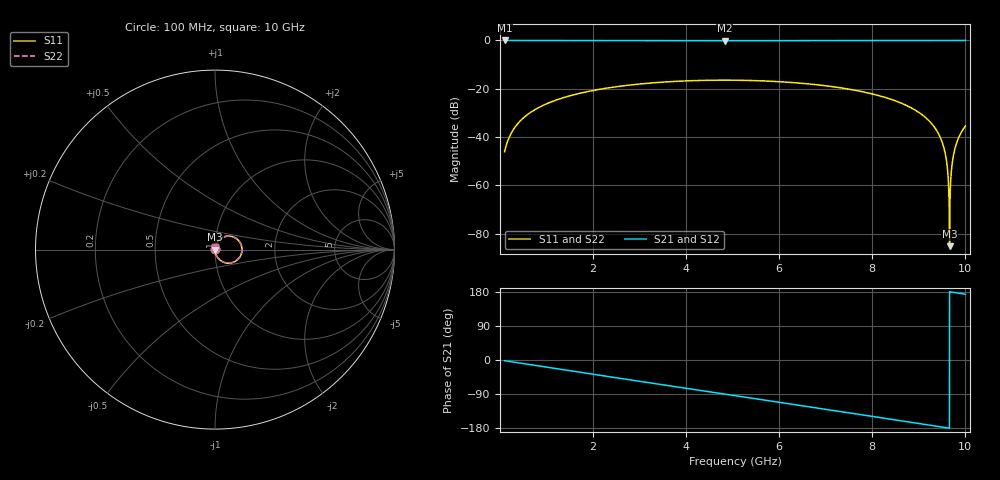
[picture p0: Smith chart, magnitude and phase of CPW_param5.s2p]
! Sonnet Data File
! From: em Version : 19.52.2025
! From Project: CPW
! Data is De-embedded
! Data File Written: 02/24/2026 12:47:39
!< HDATE 02/24/2026 12:38:38
!< MDATE 02/24/2026 12:38:38
!< PARAMS
!< Lk = 0.8
!< END PARAMS
# GHZ S MA R 50.00000
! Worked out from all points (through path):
!   4951 points, 100 MHz to 10 GHz, reference 50 ohm
!   highest |S21| = 0.00 dB at 100 MHz (marker M1); lowest = -0.1 dB at 4.834 GHz (marker M2)
!   group delay of S21, straight-line fit = 51.6 ps
!   lowest |S11| = -85.2 dB at 9.66 GHz (marker M3), VSWR 1.00, Z = 50 + j0.00482 ohm
!   |S11| at or under -10 dB: start of sweep to end of sweep
!   |S22| runs from -85.8 to -16.4 dB; largest |S21 - S12| = 7e-13
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0.1  0.004955 88.1  1 -1.9  1 -1.9  0.004955 88.1
0.3  0.01485 84.4  0.9999 -5.7  0.9999 -5.7  0.01485 84.4
0.604  0.02974 78.6  0.9995 -11.4  0.9995 -11.4  0.02974 78.6
1.082  0.05247 69.6  0.9986 -20.4  0.9986 -20.4  0.05247 69.6
1.75  0.08187 57.1  0.9966 -32.9  0.9966 -32.9  0.08187 57.1
3.4  0.135 26.4  0.9908 -63.6  0.9908 -63.6  0.135 26.4
4.834  0.1506 -0.1  0.9885 -90.1  0.9885 -90.1  0.1506 -0.1
5.05  0.1502 -4.1  0.9886 -94.1  0.9886 -94.1  0.1502 -4.1
6.7  0.1239 -34.5  0.9922 -124.6  0.9922 -124.6  0.1239 -34.6
8.35  0.0627 -65.3  0.9979 -155.4  0.9979 -155.4  0.0627 -65.3
8.962  0.03416 -76.8  0.9993 -166.9  0.9993 -166.9  0.03416 -76.8
9.346  0.01545 -84.0  0.9997 -174.1  0.9997 -174.1  0.01545 -84.0
9.46  0.009833 -86.1  0.9998 -176.3  0.9998 -176.3  0.009833 -86.1
9.54  0.005883 -87.5  0.9998 -177.8  0.9998 -177.8  0.005883 -87.6
9.59  0.003412 -88.3  0.9999 -178.7  0.9999 -178.7  0.003412 -88.4
9.628  0.001534 -88.4  0.9999 -179.4  0.9999 -179.4  0.001534 -88.7
9.66  5.473e-05 61.7  0.9999 180.0  0.9999 180.0  5.132e-05 69.9
9.69  0.001531 88.5  0.9999 179.4  0.9999 179.4  0.001531 88.8
9.73  0.003508 88.3  0.9998 178.7  0.9998 178.7  0.003508 88.4
9.784  0.006176 87.4  0.9998 177.6  0.9998 177.6  0.006176 87.5
9.88  0.01091 85.7  0.9998 175.8  0.9998 175.8  0.01091 85.8
10  0.01682 83.5  0.9997 173.6  0.9997 173.6  0.01682 83.5
